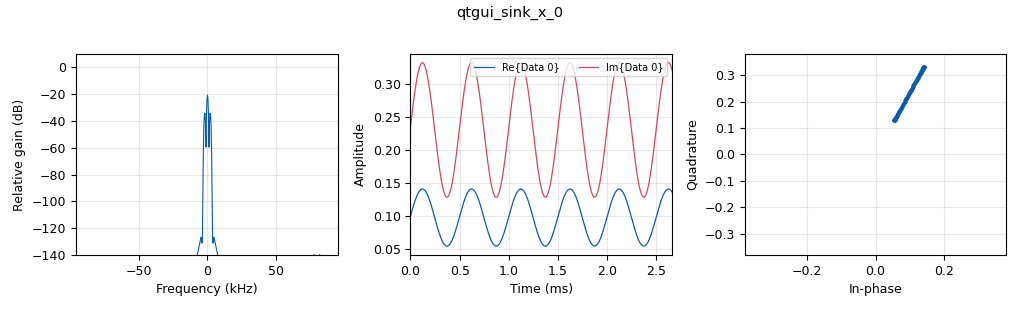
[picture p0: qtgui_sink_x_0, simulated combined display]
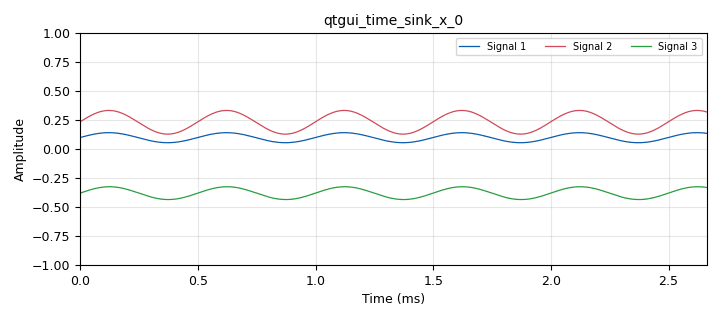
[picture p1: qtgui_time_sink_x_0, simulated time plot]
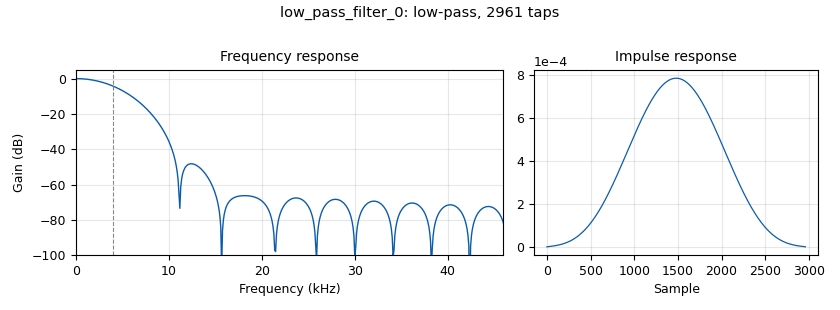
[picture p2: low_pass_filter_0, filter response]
options:
  parameters:
    generate_options: qt_gui
    id: generate_audio_waveforms
    output_language: python
    title: Not titled yet
  states: {}

blocks:
- name: delay
  id: variable_qtgui_range
  parameters:
    rangeType: int
    start: '0'
    step: '10'
    stop: '1000'
    value: '10'
  states: {}
- name: freq_carrier_Hz
  id: variable
  parameters:
    value: 1e6
  states: {}
- name: freq_modulator_Hz
  id: variable
  parameters:
    value: 2e3
  states: {}
- name: samp_rate
  id: variable
  parameters:
    value: 192000*64
  states: {}
- name: analog_am_demod_cf_0
  id: analog_am_demod_cf
  parameters:
    audio_decim: '1'
    audio_pass: '5000'
    audio_stop: '5500'
    chan_rate: samp_rate/64
  states: {}
- name: analog_sig_source_x_0
  id: analog_sig_source_x
  parameters:
    amp: '1'
    freq: freq_carrier_Hz
    offset: '0'
    phase: '0'
    samp_rate: samp_rate
    type: float
    waveform: analog.GR_COS_WAVE
  states: {}
- name: analog_sig_source_x_0_0
  id: analog_sig_source_x
  parameters:
    amp: '0.25'
    freq: freq_modulator_Hz
    offset: '0.5'
    phase: '0'
    samp_rate: samp_rate
    type: float
    waveform: analog.GR_COS_WAVE
  states: {}
- name: analog_sig_source_x_0_1
  id: analog_sig_source_x
  parameters:
    amp: '1'
    freq: freq_carrier_Hz
    offset: '0'
    phase: '0'
    samp_rate: samp_rate
    type: float
    waveform: analog.GR_SIN_WAVE
  states: {}
- name: blocks_complex_to_float_0
  id: blocks_complex_to_float
  parameters: {}
  states: {}
- name: blocks_delay_0
  id: blocks_delay
  parameters:
    delay: delay
    type: float
  states: {}
- name: blocks_delay_0_0
  id: blocks_delay
  parameters:
    delay: delay
    type: float
  states: {}
- name: blocks_float_to_complex_0
  id: blocks_float_to_complex
  parameters: {}
  states: {}
- name: blocks_multiply_xx_0
  id: blocks_multiply_xx
  parameters:
    type: float
  states: {}
- name: blocks_multiply_xx_0_0
  id: blocks_multiply_xx
  parameters:
    type: float
  states: {}
- name: blocks_multiply_xx_0_0_0
  id: blocks_multiply_xx
  parameters:
    type: float
  states: {}
- name: low_pass_filter_0
  id: low_pass_filter
  parameters:
    cutoff_freq: 2*freq_modulator_Hz
    decim: '64'
    gain: '1'
    samp_rate: samp_rate
    type: fir_filter_ccf
    width: 10e3
    win: window.WIN_HAMMING
  states: {}
- name: qtgui_sink_x_0
  id: qtgui_sink_x
  parameters:
    bw: samp_rate/64
    fc: '0'
    fftsize: '512'
    type: complex
  states: {}
- name: qtgui_time_sink_x_0
  id: qtgui_time_sink_x
  parameters:
    nconnections: '3'
    size: '512'
    srate: samp_rate/64
    type: float
  states: {}

connections:
- [analog_am_demod_cf_0, '0', qtgui_time_sink_x_0, '2']
- [analog_sig_source_x_0, '0', blocks_delay_0, '0']
- [analog_sig_source_x_0, '0', blocks_multiply_xx_0, '0']
- [analog_sig_source_x_0_0, '0', blocks_multiply_xx_0, '1']
- [analog_sig_source_x_0_1, '0', blocks_delay_0_0, '0']
- [blocks_complex_to_float_0, '0', qtgui_time_sink_x_0, '0']
- [blocks_complex_to_float_0, '1', qtgui_time_sink_x_0, '1']
- [blocks_delay_0, '0', blocks_multiply_xx_0_0_0, '1']
- [blocks_delay_0_0, '0', blocks_multiply_xx_0_0, '1']
- [blocks_float_to_complex_0, '0', low_pass_filter_0, '0']
- [blocks_multiply_xx_0, '0', blocks_multiply_xx_0_0, '0']
- [blocks_multiply_xx_0, '0', blocks_multiply_xx_0_0_0, '0']
- [blocks_multiply_xx_0_0, '0', blocks_float_to_complex_0, '1']
- [blocks_multiply_xx_0_0_0, '0', blocks_float_to_complex_0, '0']
- [low_pass_filter_0, '0', analog_am_demod_cf_0, '0']
- [low_pass_filter_0, '0', blocks_complex_to_float_0, '0']
- [low_pass_filter_0, '0', qtgui_sink_x_0, '0']

metadata:
  file_format: 1
